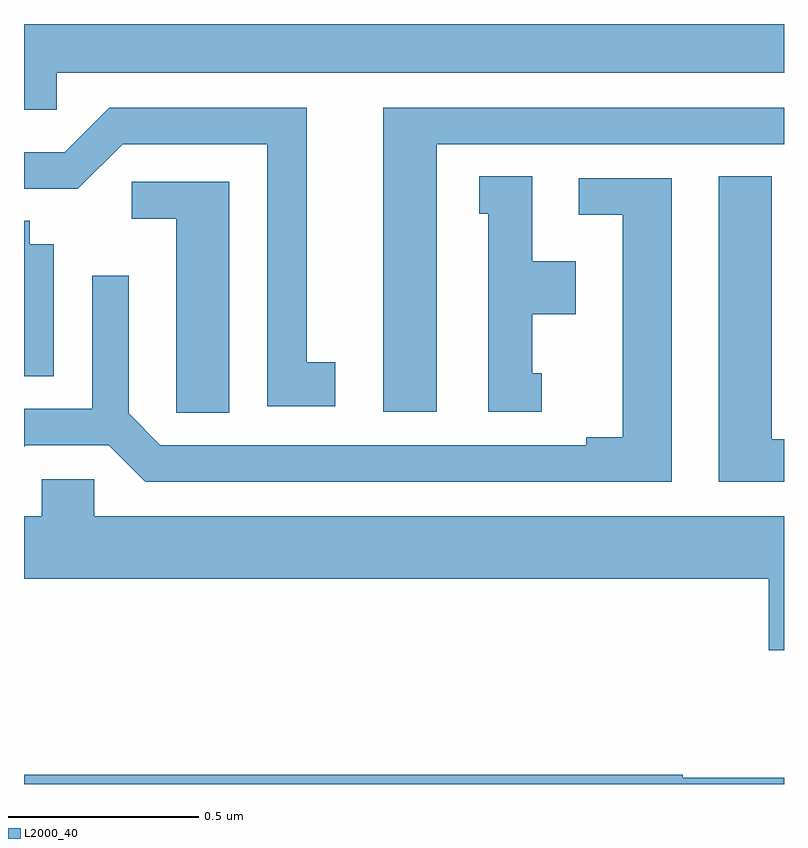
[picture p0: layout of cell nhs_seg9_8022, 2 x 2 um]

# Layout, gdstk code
import gdstk
lib = gdstk.Library(unit=1e-6, precision=1e-09)
def P(c, l, *ps):  # polygons
    for p in ps: c.add(gdstk.Polygon(p, *l))
L2000_40 = (2000, 40)

nhs_seg9_8022 = lib.new_cell('nhs_seg9_8022')
P(nhs_seg9_8022, L2000_40, [(211.086,1244.372),(213,1244.372),(213,1244.5),(211,1244.5),(211,1244.274),(211.086,1244.274)],
  [(212.086,1244.184),(213,1244.184),(213,1244.28),(211.946,1244.28),(211.946,1243.479),(212.086,1243.479)],
  [(211.819,1243.61),(211.744,1243.61),(211.744,1244.28),(211.224,1244.28),(211.107,1244.163),(211,1244.163),(211,1244.067),(211.046,1244.067),(211.046,1244.066),(211.142,1244.066),(211.26,1244.184),(211.64,1244.184),(211.64,1243.494),(211.819,1243.494)],
  [(213,1243.407),(212.968,1243.407),(212.968,1244.099),(212.828,1244.099),(212.828,1243.296),(213,1243.296)],
  [(212.362,1243.581),(212.338,1243.581),(212.338,1243.736),(212.452,1243.736),(212.452,1243.876),(212.338,1243.876),(212.338,1244.099),(212.198,1244.099),(212.198,1244.001),(212.222,1244.001),(212.222,1243.479),(212.362,1243.479)],
  [(212.704,1244.094),(212.46,1244.094),(212.46,1243.998),(212.576,1243.998),(212.576,1243.412),(212.48,1243.412),(212.48,1243.392),(211.359,1243.392),(211.275,1243.476),(211.275,1243.837),(211.179,1243.837),(211.179,1243.488),(211,1243.488),(211,1243.387),(211.005,1243.392),(211.223,1243.392),(211.319,1243.296),(212.704,1243.296)],
  [(211.54,1244.085),(211.284,1244.085),(211.284,1243.988),(211.4,1243.988),(211.4,1243.585),(211.401,1243.585),(211.401,1243.477),(211.54,1243.477)],
  [(211.078,1243.921),(211.015,1243.921),(211.015,1243.982),(211,1243.982),(211,1243.573),(211.078,1243.573)],
  [(213,1243.204),(211.185,1243.204),(211.185,1243.302),(211.047,1243.302),(211.047,1243.204),(211,1243.204),(211,1243.04),(212.96,1243.04),(212.96,1242.852),(213,1242.852)],
  [(213,1242.517),(212.734,1242.517),(212.734,1242.524),(211,1242.524),(211,1242.5),(213,1242.5)])

lib.write_gds('nhs_seg9_8022.gds')
